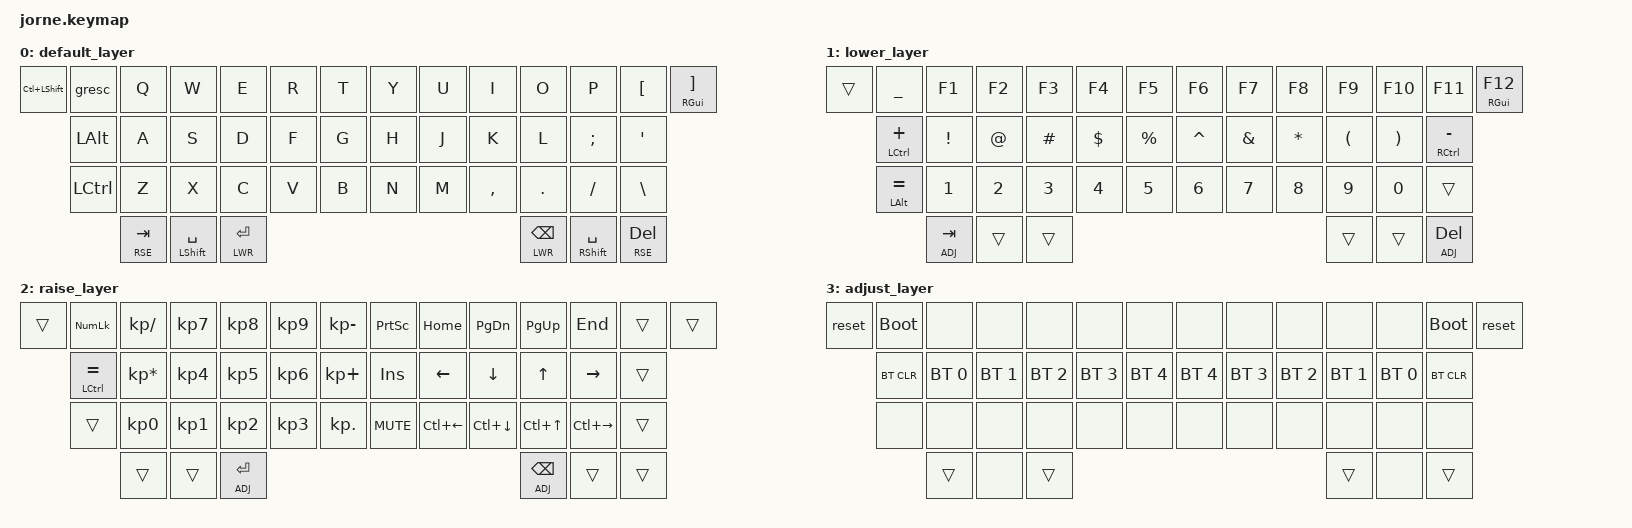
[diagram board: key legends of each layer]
/*
 * Copyright (c) 2020 The ZMK Contributors
 *
 * SPDX-License-Identifier: MIT
 */

#include <behaviors.dtsi>
#include <dt-bindings/zmk/keys.h>
#include <dt-bindings/zmk/bt.h>

#define DEF 0
#define LWR 1
#define RSE 2
#define ADJ 3

/ {
        keymap {
                compatible = "zmk,keymap";

                default_layer {
// -----------------------------------------------------------------------------------------
// |  GUI | ESC/~ |  Q  |  W  |  E  |  R  |  T  |   |  Y  |  U   |  I  |  O  |  P  |  [  | ] |
//        | LALT  |  A  |  S  |  D  |  F  |  G  |   |  H  |  J   |  K  |  L  |  ;  |  '  |
//        | CTRL  |  Z  |  X  |  C  |  V  |  B  |   |  N  |  M   |  ,  |  .  |  /  |  \  |
//                           | RSE | SPC | LWR |   | LWR | BKSP | RSE |
                        bindings = <
   &kp LC(LSHIFT) &gresc    &kp Q &kp W &kp E &kp R &kp T &kp Y         &kp U  &kp I     &kp O   &kp P  &kp LBKT &mt RGUI RBKT
            &kp LALT  &kp A &kp S &kp D &kp F &kp G &kp H               &kp J  &kp K     &kp L   &kp SEMI &kp SQT
            &kp LCTRL &kp Z &kp X &kp C &kp V &kp B &kp N               &kp M  &kp COMMA &kp DOT &kp FSLH &kp BSLH
                         &lt RSE TAB &mt LSHFT SPACE &lt LWR RET        &lt LWR BSPC &mt RSHFT SPACE &lt RSE DEL
                        >;
                };
                lower_layer {
// -----------------------------------------------------------------------------------------
// |     |  _  |  F1 |  F2 |  F3 |  F4 |  F5 |   |  F6 |  F7 |  F8 |  F9 | F10 | F11 | F12 |
//       |  +  |  !  |  @  |  #  |  $  |  %  |   |  ^  |  &  |  *  |  (  |  )  |  -  |
//       |  =  |  1  |  2  |  3  |  4  |  5  |   |  6  |  7  |  8  |  9  |  0  |     |
//                    | GUI |     | SPC |   | ENT |     | ALT |
                        bindings = <
   &trans &kp UNDER      &kp F1   &kp F2 &kp F3   &kp F4   &kp F5           &kp F6    &kp F7   &kp F8   &kp F9   &kp F10  &kp F11 &mt RGUI F12
          &mt LCTRL PLUS &kp EXCL &kp AT &kp HASH &kp DLLR &kp PRCNT        &kp CARET &kp AMPS &kp STAR &kp LPAR &kp RPAR &mt RCTRL MINUS
          &mt LALT EQUAL &kp N1   &kp N2 &kp N3   &kp N4   &kp N5           &kp N6    &kp N7   &kp N8   &kp N9   &kp N0   &trans
                                              &lt ADJ TAB &trans &trans   &trans &trans &lt ADJ DEL
                        >;
                };

                raise_layer {
// -----------------------------------------------------------------------------------------
// |     | NMLK |  /  |  7  |  8  |  9  |  -  |   | VOLU| HOME| PRSC| PGUP| SCLK| CLCK|     |
//       | CTRL |  *  |  4  |  5  |  6  |  +  |   | MUT | LEFT|  UP | DOWN| RGHT| APP |
//       |      |  0  |  1  |  2  |  3  |  .  |   | VOLD| END |     | PGDN| PAUS|     |
//                          |     |     | ADJ |   | ADJ |     |     |
                        bindings = <
   &trans &kp KP_NUM      &kp KP_SLASH    &kp KP_N7 &kp KP_N8 &kp KP_N9 &kp KP_MINUS        &kp PSCRN   &kp HOME &kp PG_DN &kp PG_UP &kp END &trans &trans
          &mt LCTRL EQUAL &kp KP_MULTIPLY &kp KP_N4 &kp KP_N5 &kp KP_N6 &kp KP_PLUS         &kp INS     &kp LEFT &kp DOWN  &kp UP    &kp RIGHT &trans
          &trans          &kp KP_N0       &kp KP_N1 &kp KP_N2 &kp KP_N3 &kp KP_DOT          &kp C_MUTE  &kp LC(LEFT) &kp LC(DOWN) &kp LC(UP) &kp LC(RIGHT) &trans
                                                           &trans &trans &lt ADJ RET   &lt ADJ BSPC &trans &trans
                        >;
                };
                adjust_layer {
// -----------------------------------------------------------------------------------------
// | RST | BLDR |     |     |     |     |     |   |     |     |     |     |     | BLDR | RST |
//       | BTCLR| BT0 | BT1 | BT2 | BT3 | BT4 |   | BT4 | BT3 | BT2 | BT1 | BT0 | BTCLR|
//       |      |     |     |     |     |     |   |     |     |     |     |     |      |
//                          |     |     |     |   |     |     |     |
                        bindings = <
   &reset &bootloader  &none        &none        &none        &none        &none              &none        &none        &none        &none        &none         &bootloader &reset
          &bt BT_CLR   &bt BT_SEL 0 &bt BT_SEL 1 &bt BT_SEL 2 &bt BT_SEL 3 &bt BT_SEL 4       &bt BT_SEL 4 &bt BT_SEL 3 &bt BT_SEL 2 &bt BT_SEL 1 &bt BT_SEL 0  &bt BT_CLR
          &none        &none        &none        &none        &none        &none              &none        &none        &none        &none        &none         &none
                                                                    &trans &none &trans   &trans &none &trans
                        >;
                };
        };
};
